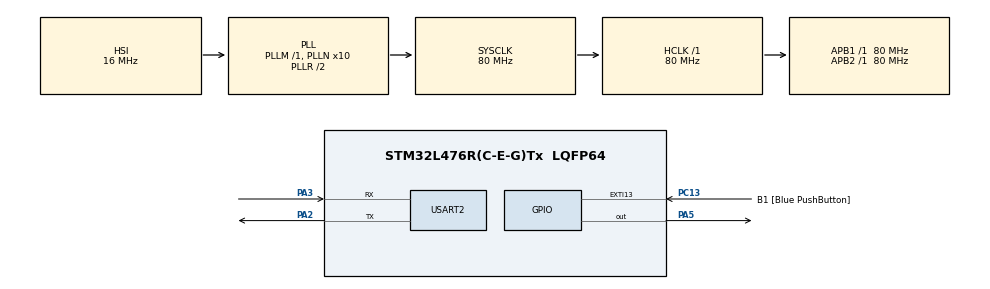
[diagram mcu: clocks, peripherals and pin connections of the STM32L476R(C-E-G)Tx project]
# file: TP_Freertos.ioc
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FREERTOS.Tasks01=defaultTask,0,128,StartDefaultTask,Default,NULL,Dynamic,NULL,NULL;shellTask,-3,128,StartShellTask,Default,NULL,Dynamic,NULL,NULL
FREERTOS.configUSE_NEWLIB_REENTRANT=1
Mcu.Family=STM32L4
Mcu.Name=STM32L476R(C-E-G)Tx
Mcu.Package=LQFP64
NVIC.PriorityGroup=NVIC_PRIORITYGROUP_4
NVIC.TIM7_IRQn=true\:15\:0\:false\:false\:true\:false\:false\:true\:true
NVIC.TimeBase=TIM7_IRQn
NVIC.TimeBaseIP=TIM7
NVIC.USART2_IRQn=true\:5\:0\:false\:false\:true\:true\:true\:true\:true
PA13\ (JTMS-SWDIO).GPIO_Label=TMS
PA13\ (JTMS-SWDIO).Mode=Serial_Wire
PA13\ (JTMS-SWDIO).Signal=SYS_JTMS-SWDIO
PA14\ (JTCK-SWCLK).GPIO_Label=TCK
PA14\ (JTCK-SWCLK).Mode=Serial_Wire
PA14\ (JTCK-SWCLK).Signal=SYS_JTCK-SWCLK
PA2.Mode=Asynchronous
PA2.Signal=USART2_TX
PA3.Mode=Asynchronous
PA3.Signal=USART2_RX
PA5.Signal=GPIO_Output
PB3\ (JTDO-TRACESWO).GPIO_Label=SWO
PB3\ (JTDO-TRACESWO).Signal=SYS_JTDO-SWO
PC13.GPIO_Label=B1 [Blue PushButton]
PC13.GPIO_ModeDefaultEXTI=GPIO_MODE_IT_FALLING
PC13.GPIO_PuPd=GPIO_NOPULL
PC13.Signal=GPXTI13
PC14-OSC32_IN\ (PC14).Mode=LSE-External-Oscillator
PC14-OSC32_IN\ (PC14).Signal=RCC_OSC32_IN
PC15-OSC32_OUT\ (PC15).Mode=LSE-External-Oscillator
PC15-OSC32_OUT\ (PC15).Signal=RCC_OSC32_OUT
PH0-OSC_IN\ (PH0).Signal=RCC_OSC_IN
PH1-OSC_OUT\ (PH1).Signal=RCC_OSC_OUT
ProjectManager.HeapSize=0x200
ProjectManager.StackSize=0x400
ProjectManager.TargetToolchain=STM32CubeIDE
RCC.ADCFreq_Value=64000000
RCC.AHBFreq_Value=80000000
RCC.APB1Freq_Value=80000000
RCC.APB1TimFreq_Value=80000000
RCC.APB2Freq_Value=80000000
RCC.APB2TimFreq_Value=80000000
RCC.CortexFreq_Value=80000000
RCC.HCLKFreq_Value=80000000
RCC.HSE_VALUE=8000000
RCC.HSI_VALUE=16000000
RCC.MSI_VALUE=4000000
RCC.PLLN=10
RCC.PLLSourceVirtual=RCC_PLLSOURCE_HSI
RCC.PREFETCH_ENABLE=1
RCC.SYSCLKFreq_VALUE=80000000
RCC.SYSCLKSource=RCC_SYSCLKSOURCE_PLLCLK
RCC.USBFreq_Value=64000000
RCC.VCOOutputFreq_Value=160000000
USART2.VirtualMode-Asynchronous=VM_ASYNC
VP_FREERTOS_VS_CMSIS_V1.Mode=CMSIS_V1
VP_SYS_VS_tim7.Mode=TIM7
board=NUCLEO-L476RG

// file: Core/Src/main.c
/* USER CODE BEGIN Header */
/**
 ******************************************************************************
 * @file           : main.c
 * @brief          : Main program body
 ******************************************************************************
 * @attention
 *
 * Copyright (c) 2025 STMicroelectronics.
 * All rights reserved.
 *
 * This software is licensed under terms that can be found in the LICENSE file
 * in the root directory of this software component.
 * If no LICENSE file comes with this software, it is provided AS-IS.
 *
 ******************************************************************************
 */
/* USER CODE END Header */
#include "main.h"
#include "cmsis_os.h"
#include "usart.h"
#include "gpio.h"

/* USER CODE BEGIN Includes */
#include <stdio.h>
/* USER CODE END Includes */

void SystemClock_Config(void);
void MX_FREERTOS_Init(void);

/* USER CODE BEGIN 0 */
int __io_putchar(int ch)
{
	HAL_UART_Transmit(&huart2, (uint8_t*)&ch, 1, HAL_MAX_DELAY);

	return ch;
}
/* USER CODE END 0 */

int main(void)
{

  /* MCU Configuration--------------------------------------------------------*/

  /* Reset of all peripherals, Initializes the Flash interface and the Systick. */
  HAL_Init();

  /* Configure the system clock */
  SystemClock_Config();

  /* Initialize all configured peripherals */
  MX_GPIO_Init();
  MX_USART2_UART_Init();

  /* Call init function for freertos objects (in cmsis_os2.c) */
  MX_FREERTOS_Init();

  /* Start scheduler */
  osKernelStart();

  /* We should never get here as control is now taken by the scheduler */

  /* Infinite loop */
	while (1)
	{

	}
}

void SystemClock_Config(void)
{
  RCC_OscInitTypeDef RCC_OscInitStruct = {0};
  RCC_ClkInitTypeDef RCC_ClkInitStruct = {0};

  /** Configure the main internal regulator output voltage
  */
  if (HAL_PWREx_ControlVoltageScaling(PWR_REGULATOR_VOLTAGE_SCALE1) != HAL_OK)
  {
    Error_Handler();
  }

  /** Initializes the RCC Oscillators according to the specified parameters
  * in the RCC_OscInitTypeDef structure.
  */
  RCC_OscInitStruct.OscillatorType = RCC_OSCILLATORTYPE_HSI;
  RCC_OscInitStruct.HSIState = RCC_HSI_ON;
  RCC_OscInitStruct.HSICalibrationValue = RCC_HSICALIBRATION_DEFAULT;
  RCC_OscInitStruct.PLL.PLLState = RCC_PLL_ON;
  RCC_OscInitStruct.PLL.PLLSource = RCC_PLLSOURCE_HSI;
  RCC_OscInitStruct.PLL.PLLM = 1;
  RCC_OscInitStruct.PLL.PLLN = 10;
  RCC_OscInitStruct.PLL.PLLP = RCC_PLLP_DIV7;
  RCC_OscInitStruct.PLL.PLLQ = RCC_PLLQ_DIV2;
  RCC_OscInitStruct.PLL.PLLR = RCC_PLLR_DIV2;
  if (HAL_RCC_OscConfig(&RCC_OscInitStruct) != HAL_OK)
  {
    Error_Handler();
  }

  /** Initializes the CPU, AHB and APB buses clocks
  */
  RCC_ClkInitStruct.ClockType = RCC_CLOCKTYPE_HCLK|RCC_CLOCKTYPE_SYSCLK
                              |RCC_CLOCKTYPE_PCLK1|RCC_CLOCKTYPE_PCLK2;
  RCC_ClkInitStruct.SYSCLKSource = RCC_SYSCLKSOURCE_PLLCLK;
  RCC_ClkInitStruct.AHBCLKDivider = RCC_SYSCLK_DIV1;
  RCC_ClkInitStruct.APB1CLKDivider = RCC_HCLK_DIV1;
  RCC_ClkInitStruct.APB2CLKDivider = RCC_HCLK_DIV1;

  if (HAL_RCC_ClockConfig(&RCC_ClkInitStruct, FLASH_LATENCY_4) != HAL_OK)
  {
    Error_Handler();
  }
}

void HAL_TIM_PeriodElapsedCallback(TIM_HandleTypeDef *htim)
{
  if (htim->Instance == TIM7)
  {
    HAL_IncTick();
  }
}

void Error_Handler(void)
{
	__disable_irq();
	while (1)
	{
	}
}

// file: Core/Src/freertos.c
/* USER CODE BEGIN Header */
/**
 ******************************************************************************
 * File Name          : freertos.c
 * Description        : Code for freertos applications
 ******************************************************************************
 * @attention
 *
 * Copyright (c) 2025 STMicroelectronics.
 * All rights reserved.
 *
 * This software is licensed under terms that can be found in the LICENSE file
 * in the root directory of this software component.
 * If no LICENSE file comes with this software, it is provided AS-IS.
 *
 ******************************************************************************
 */
/* USER CODE END Header */

#include "FreeRTOS.h"
#include "task.h"
#include "main.h"
#include "cmsis_os.h"

/* USER CODE BEGIN Includes */
#include <stdio.h>
#include "usart.h"
#include "shell_driver.h"
#include "queue.h"
#include <string.h>
/* USER CODE END Includes */

/* USER CODE BEGIN Variables */
QueueHandle_t uart_rx_queue;
uint8_t rx_char;
shell_t debug_shell;
/* USER CODE END Variables */
osThreadId defaultTaskHandle;
osThreadId shellTaskHandle;

void StartDefaultTask(void const * argument);
void StartShellTask(void const * argument);

void MX_FREERTOS_Init(void); /* (MISRA C 2004 rule 8.1) */

/* GetIdleTaskMemory prototype (linked to static allocation support) */
void vApplicationGetIdleTaskMemory( StaticTask_t **ppxIdleTaskTCBBuffer, StackType_t **ppxIdleTaskStackBuffer, uint32_t *pulIdleTaskStackSize );

/* USER CODE BEGIN GET_IDLE_TASK_MEMORY */
static StaticTask_t xIdleTaskTCBBuffer;
static StackType_t xIdleStack[configMINIMAL_STACK_SIZE];

void vApplicationGetIdleTaskMemory( StaticTask_t **ppxIdleTaskTCBBuffer, StackType_t **ppxIdleTaskStackBuffer, uint32_t *pulIdleTaskStackSize )
{
	*ppxIdleTaskTCBBuffer = &xIdleTaskTCBBuffer;
	*ppxIdleTaskStackBuffer = &xIdleStack[0];
	*pulIdleTaskStackSize = configMINIMAL_STACK_SIZE;
	/* place for user code */
}
/* USER CODE END GET_IDLE_TASK_MEMORY */

void MX_FREERTOS_Init(void) {
	/* USER CODE BEGIN Init */
	//	printf("freertos init\n\r");

	/* USER CODE END Init */

	/* USER CODE BEGIN RTOS_QUEUES */
	/* add queues, ... */
	uart_rx_queue = xQueueCreate(128, sizeof(uint8_t));
	/* USER CODE END RTOS_QUEUES */

	/* Create the thread(s) */
	/* definition and creation of defaultTask */
	osThreadDef(defaultTask, StartDefaultTask, osPriorityNormal, 0, 128);
	defaultTaskHandle = osThreadCreate(osThread(defaultTask), NULL);

	/* definition and creation of shellTask */
	osThreadDef(shellTask, StartShellTask, osPriorityIdle, 0, 128);
	shellTaskHandle = osThreadCreate(osThread(shellTask), NULL);

}

void StartDefaultTask(void const * argument)
{
	/* USER CODE BEGIN StartDefaultTask */
	/* Infinite loop */
	for(;;)
	{
		HAL_GPIO_TogglePin(GPIOA, GPIO_PIN_5);
		//		printf("Led toggled\n\r");
		osDelay(1000);
	}
	/* USER CODE END StartDefaultTask */
}

void StartShellTask(void const * argument)
{
	/* USER CODE BEGIN StartShellTask */

	shell_create(&debug_shell, &huart2);
	shell_task(&debug_shell);

	/* Infinite loop */
	for(;;)
	{

	}
	/* USER CODE END StartShellTask */
}
